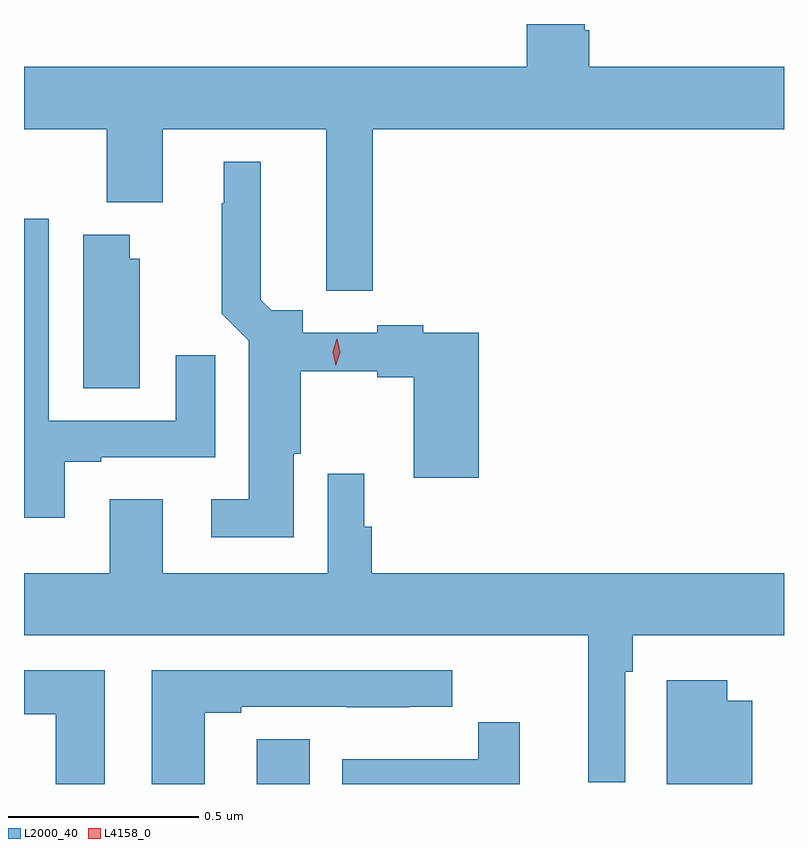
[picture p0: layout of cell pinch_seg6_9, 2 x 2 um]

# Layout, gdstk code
import gdstk
lib = gdstk.Library(unit=1e-6, precision=1e-09)
def P(c, l, *ps):  # polygons
    for p in ps: c.add(gdstk.Polygon(p, *l))
L2000_40 = (2000, 40)
L4158_0 = (4158, 0)

pinch_seg6_9 = lib.new_cell('pinch_seg6_9')
P(pinch_seg6_9, L2000_40, [(1089.422,969.98),(1090.504,969.98),(1090.504,970.144),(1089.992,970.144),(1089.992,970.24),(1089.979,970.24),(1089.979,970.257),(1089.827,970.257),(1089.827,970.144),(1088.504,970.144),(1088.504,969.98),(1088.722,969.98),(1088.722,969.788),(1088.869,969.788),(1088.869,969.98),(1089.299,969.98),(1089.299,969.667),(1089.3,969.667),(1089.3,969.555),(1089.422,969.555)],
  [(1089.214,969.126),(1089.232,969.126),(1089.232,969.343),(1089.434,969.343),(1089.434,969.328),(1089.53,969.328),(1089.53,969.063),(1089.701,969.063),(1089.701,969.444),(1089.554,969.444),(1089.554,969.464),(1089.434,969.464),(1089.434,969.444),(1089.237,969.444),(1089.237,969.504),(1089.154,969.504),(1089.127,969.532),(1089.127,969.895),(1089.029,969.895),(1089.029,969.785),(1089.025,969.785),(1089.025,969.494),(1089.095,969.424),(1089.095,969.007),(1088.997,969.007),(1088.997,968.906),(1089.214,968.906)],
  [(1088.611,969.105),(1088.707,969.105),(1088.707,969.117),(1089.007,969.117),(1089.007,969.385),(1088.903,969.385),(1088.903,969.213),(1088.569,969.213),(1088.569,969.745),(1088.504,969.745),(1088.504,968.958),(1088.611,968.958)],
  [(1088.809,969.639),(1088.782,969.639),(1088.782,969.703),(1088.66,969.703),(1088.66,969.298),(1088.809,969.298)],
  [(1090.086,968.552),(1090.106,968.552),(1090.106,968.648),(1090.504,968.648),(1090.504,968.812),(1089.419,968.812),(1089.419,968.934),(1089.4,968.934),(1089.4,969.073),(1089.303,969.073),(1089.303,968.812),(1088.869,968.812),(1088.869,969.007),(1088.729,969.007),(1088.729,968.812),(1088.504,968.812),(1088.504,968.648),(1089.989,968.648),(1089.989,968.262),(1090.086,968.262)],
  [(1088.716,968.556),(1088.504,968.556),(1088.504,968.44),(1088.588,968.44),(1088.588,968.257),(1088.716,968.257)],
  [(1088.98,968.445),(1089.076,968.445),(1089.076,968.46),(1089.352,968.46),(1089.352,968.459),(1089.518,968.459),(1089.518,968.46),(1089.631,968.46),(1089.631,968.556),(1088.84,968.556),(1088.84,968.257),(1088.98,968.257)],
  [(1090.42,968.476),(1090.354,968.476),(1090.354,968.53),(1090.196,968.53),(1090.196,968.257),(1090.42,968.257)],
  [(1089.809,968.419),(1089.7,968.419),(1089.7,968.322),(1089.341,968.322),(1089.341,968.257),(1089.809,968.257)],
  [(1089.256,968.375),(1089.117,968.375),(1089.117,968.267),(1089.116,968.267),(1089.116,968.257),(1089.256,968.257)])
P(pinch_seg6_9, L4158_0, [(1089.324,969.358),(1089.316,969.394),(1089.327,969.429),(1089.327,969.429),(1089.328,969.429),(1089.336,969.393),(1089.325,969.358),(1089.325,969.358)])

lib.write_gds('pinch_seg6_9.gds')
